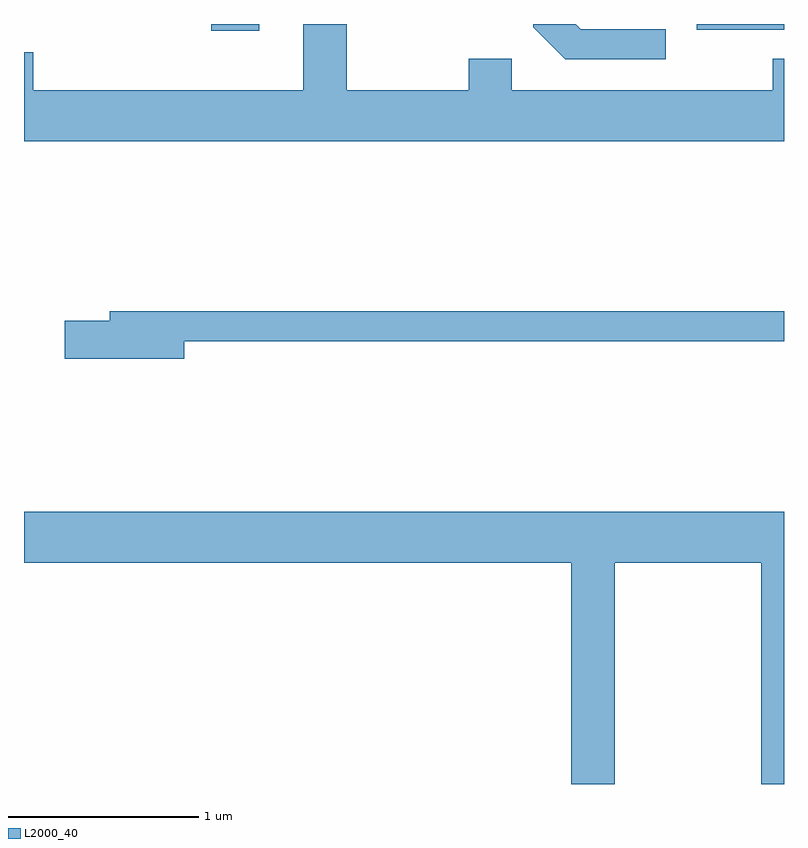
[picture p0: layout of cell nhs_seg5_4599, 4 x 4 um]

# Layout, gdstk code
import gdstk
lib = gdstk.Library(unit=1e-6, precision=1e-09)
def R(c, l, rs):  # rectangles x0, y0, x1, y1
    for r in rs: c.add(gdstk.rectangle(r[:2], r[2:], *l))
def P(c, l, *ps):  # polygons
    for p in ps: c.add(gdstk.Polygon(p, *l))
L2000_40 = (2000, 40)

nhs_seg5_4599 = lib.new_cell('nhs_seg5_4599')
R(nhs_seg5_4599, L2000_40, [(322.596,1464.036,322.849,1464.072), (325.151,1464.041,325.611,1464.072)])
P(nhs_seg5_4599, L2000_40, [(325.611,1463.889),(325.551,1463.889),(325.551,1463.724),(324.179,1463.724),(324.179,1463.889),(323.951,1463.889),(323.951,1463.724),(323.309,1463.724),(323.309,1464.072),(323.081,1464.072),(323.081,1463.724),(321.659,1463.724),(321.659,1463.924),(321.611,1463.924),(321.611,1463.456),(325.611,1463.456)],
  [(324.988,1464.044),(324.542,1464.044),(324.514,1464.072),(324.291,1464.072),(324.291,1464.054),(324.459,1463.886),(324.988,1463.886)],
  [(322.454,1462.401),(325.611,1462.401),(325.611,1462.559),(322.061,1462.559),(322.061,1462.509),(321.826,1462.509),(321.826,1462.311),(322.454,1462.311)],
  [(324.719,1461.236),(325.491,1461.236),(325.491,1460.072),(325.611,1460.072),(325.611,1461.504),(321.611,1461.504),(321.611,1461.236),(324.491,1461.236),(324.491,1460.072),(324.719,1460.072)])

lib.write_gds('nhs_seg5_4599.gds')
